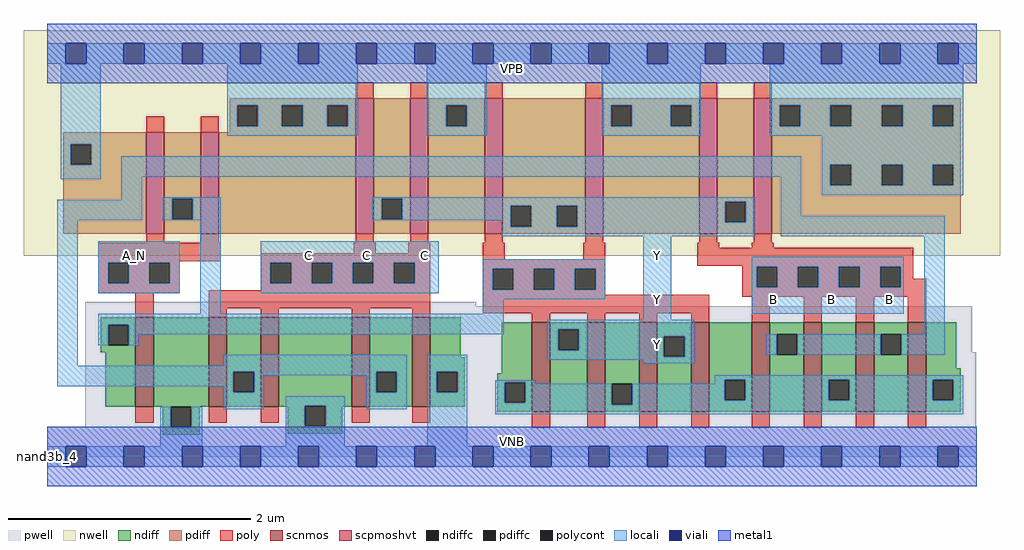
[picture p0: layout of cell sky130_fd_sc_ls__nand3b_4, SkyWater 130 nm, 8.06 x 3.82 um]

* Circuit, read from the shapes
.subckt sky130_fd_sc_ls__nand3b_4 A_N B C VGND VNB VPB VPWR Y
XM1 VGND A_N n1 VNB sky130_fd_pr__nfet_01v8 w=0.74 l=0.15
XM2 n2 C VGND VNB sky130_fd_pr__nfet_01v8 w=0.74 l=0.15 m=4
XM3 Y n1 n3 VNB sky130_fd_pr__nfet_01v8 w=0.74 l=0.15 m=4
XM4 n2 B n3 VNB sky130_fd_pr__nfet_01v8 w=0.74 l=0.15 m=4
XM5 n1 A_N VPWR VPB sky130_fd_pr__pfet_01v8_hvt w=0.84 l=0.15 m=2
XM6 Y C VPWR VPB sky130_fd_pr__pfet_01v8_hvt w=1.12 l=0.15 m=2
XM7 Y n1 VPWR VPB sky130_fd_pr__pfet_01v8_hvt w=1.12 l=0.15 m=2
XM8 Y B VPWR VPB sky130_fd_pr__pfet_01v8_hvt w=1.12 l=0.15 m=2
.ends

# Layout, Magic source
magic
tech sky130A
magscale 1 2
<< nwell >>
rect -38 332 1574 704
<< pwell >>
rect 63 248 709 256
rect 63 172 1528 248
rect 63 49 1535 172
rect 0 0 1536 49
<< scnmos >>
rect 146 82 176 230
rect 267 82 297 230
rect 353 82 383 230
rect 503 82 533 230
rect 603 82 633 230
rect 801 74 831 222
rect 892 74 922 222
rect 978 74 1008 222
rect 1064 74 1094 222
rect 1164 74 1194 222
rect 1250 74 1280 222
rect 1336 74 1366 222
rect 1422 74 1452 222
<< scpmoshvt >>
rect 164 368 194 536
rect 254 368 284 536
rect 510 368 540 592
rect 600 368 630 592
rect 723 368 753 592
rect 889 368 919 592
rect 1077 368 1107 592
rect 1167 368 1197 592
<< ndiff >>
rect 89 218 146 230
rect 89 184 101 218
rect 135 184 146 218
rect 89 172 146 184
rect 96 82 146 172
rect 176 82 267 230
rect 297 140 353 230
rect 297 106 308 140
rect 342 106 353 140
rect 297 82 353 106
rect 383 84 503 230
rect 383 82 426 84
rect 191 48 204 82
rect 238 48 252 82
rect 191 36 252 48
rect 398 50 426 82
rect 460 82 503 84
rect 533 140 603 230
rect 533 106 544 140
rect 578 106 603 140
rect 533 82 603 106
rect 633 164 683 230
rect 633 140 690 164
rect 633 106 644 140
rect 678 106 690 140
rect 751 138 801 222
rect 633 82 690 106
rect 744 123 801 138
rect 744 89 756 123
rect 790 89 801 123
rect 460 50 488 82
rect 744 74 801 89
rect 831 210 892 222
rect 831 176 844 210
rect 878 176 892 210
rect 831 74 892 176
rect 922 120 978 222
rect 922 86 933 120
rect 967 86 978 120
rect 922 74 978 86
rect 1008 199 1064 222
rect 1008 165 1019 199
rect 1053 165 1064 199
rect 1008 74 1064 165
rect 1094 127 1164 222
rect 1094 93 1119 127
rect 1153 93 1164 127
rect 1094 74 1164 93
rect 1194 202 1250 222
rect 1194 168 1205 202
rect 1239 168 1250 202
rect 1194 74 1250 168
rect 1280 127 1336 222
rect 1280 93 1291 127
rect 1325 93 1336 127
rect 1280 74 1336 93
rect 1366 202 1422 222
rect 1366 168 1377 202
rect 1411 168 1422 202
rect 1366 74 1422 168
rect 1452 146 1502 222
rect 1452 127 1509 146
rect 1452 93 1463 127
rect 1497 93 1509 127
rect 1452 74 1509 93
rect 398 38 488 50
<< pdiff >>
rect 302 580 510 592
rect 302 546 314 580
rect 348 546 388 580
rect 422 546 463 580
rect 497 546 510 580
rect 302 536 510 546
rect 27 516 164 536
rect 27 482 39 516
rect 73 482 164 516
rect 27 368 164 482
rect 194 426 254 536
rect 194 392 207 426
rect 241 392 254 426
rect 194 368 254 392
rect 284 368 510 536
rect 540 426 600 592
rect 540 392 553 426
rect 587 392 600 426
rect 540 368 600 392
rect 630 580 723 592
rect 630 546 659 580
rect 693 546 723 580
rect 630 368 723 546
rect 753 414 889 592
rect 753 380 766 414
rect 800 380 842 414
rect 876 380 889 414
rect 753 368 889 380
rect 919 580 1077 592
rect 919 546 932 580
rect 966 546 1030 580
rect 1064 546 1077 580
rect 919 368 1077 546
rect 1107 421 1167 592
rect 1107 387 1120 421
rect 1154 387 1167 421
rect 1107 368 1167 387
rect 1197 580 1509 592
rect 1197 546 1210 580
rect 1244 546 1294 580
rect 1328 546 1379 580
rect 1413 546 1463 580
rect 1497 546 1509 580
rect 1197 482 1509 546
rect 1197 448 1294 482
rect 1328 448 1379 482
rect 1413 448 1463 482
rect 1497 448 1509 482
rect 1197 368 1509 448
<< ndiffc >>
rect 101 184 135 218
rect 308 106 342 140
rect 204 48 238 82
rect 426 50 460 84
rect 544 106 578 140
rect 644 106 678 140
rect 756 89 790 123
rect 844 176 878 210
rect 933 86 967 120
rect 1019 165 1053 199
rect 1119 93 1153 127
rect 1205 168 1239 202
rect 1291 93 1325 127
rect 1377 168 1411 202
rect 1463 93 1497 127
<< pdiffc >>
rect 314 546 348 580
rect 388 546 422 580
rect 463 546 497 580
rect 39 482 73 516
rect 207 392 241 426
rect 553 392 587 426
rect 659 546 693 580
rect 766 380 800 414
rect 842 380 876 414
rect 932 546 966 580
rect 1030 546 1064 580
rect 1120 387 1154 421
rect 1210 546 1244 580
rect 1294 546 1328 580
rect 1379 546 1413 580
rect 1463 546 1497 580
rect 1294 448 1328 482
rect 1379 448 1413 482
rect 1463 448 1497 482
<< poly >>
rect 510 592 540 618
rect 600 592 630 618
rect 723 592 753 618
rect 889 592 919 618
rect 1077 592 1107 618
rect 1167 592 1197 618
rect 164 536 194 562
rect 254 536 284 562
rect 164 353 194 368
rect 254 353 284 368
rect 510 353 540 368
rect 600 353 630 368
rect 723 353 753 368
rect 889 353 919 368
rect 1077 353 1107 368
rect 1167 353 1197 368
rect 85 323 287 353
rect 507 336 543 353
rect 597 336 633 353
rect 85 320 219 323
rect 85 286 101 320
rect 135 286 169 320
rect 203 286 219 320
rect 85 270 219 286
rect 353 320 633 336
rect 353 286 369 320
rect 403 286 437 320
rect 471 286 505 320
rect 539 286 573 320
rect 607 286 633 320
rect 353 275 633 286
rect 146 230 176 270
rect 267 245 633 275
rect 267 230 297 245
rect 353 230 383 245
rect 503 230 533 245
rect 603 230 633 245
rect 720 326 756 353
rect 886 326 922 353
rect 720 310 922 326
rect 1074 345 1110 353
rect 1164 345 1200 353
rect 1074 315 1431 345
rect 720 276 736 310
rect 770 276 804 310
rect 838 276 872 310
rect 906 276 922 310
rect 720 267 922 276
rect 1148 314 1431 315
rect 1148 280 1172 314
rect 1206 280 1240 314
rect 1274 280 1308 314
rect 1342 280 1376 314
rect 1410 294 1431 314
rect 1410 280 1452 294
rect 720 237 1094 267
rect 1148 264 1452 280
rect 146 56 176 82
rect 267 56 297 82
rect 353 56 383 82
rect 801 222 831 237
rect 892 222 922 237
rect 978 222 1008 237
rect 1064 222 1094 237
rect 1164 222 1194 264
rect 1250 222 1280 264
rect 1336 222 1366 264
rect 1422 222 1452 264
rect 503 56 533 82
rect 603 56 633 82
rect 801 48 831 74
rect 892 48 922 74
rect 978 48 1008 74
rect 1064 48 1094 74
rect 1164 48 1194 74
rect 1250 48 1280 74
rect 1336 48 1366 74
rect 1422 48 1452 74
<< polycont >>
rect 101 286 135 320
rect 169 286 203 320
rect 369 286 403 320
rect 437 286 471 320
rect 505 286 539 320
rect 573 286 607 320
rect 736 276 770 310
rect 804 276 838 310
rect 872 276 906 310
rect 1172 280 1206 314
rect 1240 280 1274 314
rect 1308 280 1342 314
rect 1376 280 1410 314
<< locali >>
rect 0 649 31 683
rect 65 649 127 683
rect 161 649 223 683
rect 257 649 319 683
rect 353 649 415 683
rect 449 649 511 683
rect 545 649 607 683
rect 641 649 703 683
rect 737 649 799 683
rect 833 649 895 683
rect 929 649 991 683
rect 1025 649 1087 683
rect 1121 649 1183 683
rect 1217 649 1279 683
rect 1313 649 1375 683
rect 1409 649 1471 683
rect 1505 649 1536 683
rect 23 516 89 649
rect 298 580 513 649
rect 298 546 314 580
rect 348 546 388 580
rect 422 546 463 580
rect 497 546 513 580
rect 298 530 513 546
rect 627 580 726 649
rect 627 546 659 580
rect 693 546 726 580
rect 627 530 726 546
rect 916 580 1080 649
rect 916 546 932 580
rect 966 546 1030 580
rect 1064 546 1080 580
rect 916 530 1080 546
rect 1194 580 1513 649
rect 1194 546 1210 580
rect 1244 546 1294 580
rect 1328 546 1379 580
rect 1413 546 1463 580
rect 1497 546 1513 580
rect 1194 530 1513 546
rect 23 482 39 516
rect 73 482 89 516
rect 23 458 89 482
rect 123 462 1246 496
rect 123 424 157 462
rect 17 390 157 424
rect 191 426 287 428
rect 191 392 207 426
rect 241 392 287 426
rect 191 390 287 392
rect 537 426 1170 428
rect 537 392 553 426
rect 587 421 1170 426
rect 587 414 1120 421
rect 587 392 766 414
rect 537 390 766 392
rect 17 150 51 390
rect 85 320 219 356
rect 85 286 101 320
rect 135 286 169 320
rect 203 286 219 320
rect 85 270 219 286
rect 253 236 287 390
rect 750 380 766 390
rect 800 380 842 414
rect 876 387 1120 414
rect 1154 387 1170 421
rect 876 380 1170 387
rect 750 364 1170 380
rect 1212 398 1246 462
rect 1280 482 1513 530
rect 1280 448 1294 482
rect 1328 448 1379 482
rect 1413 448 1463 482
rect 1497 448 1513 482
rect 1280 432 1513 448
rect 1212 364 1483 398
rect 353 320 647 356
rect 353 286 369 320
rect 403 286 437 320
rect 471 286 505 320
rect 539 286 573 320
rect 607 286 647 320
rect 353 270 647 286
rect 720 310 922 326
rect 720 276 736 310
rect 770 276 804 310
rect 838 276 872 310
rect 906 276 922 310
rect 720 260 922 276
rect 720 236 754 260
rect 85 218 754 236
rect 985 226 1031 364
rect 1164 314 1415 330
rect 1164 280 1172 314
rect 1206 280 1240 314
rect 1274 280 1308 314
rect 1342 280 1376 314
rect 1410 280 1415 314
rect 1164 236 1415 280
rect 85 184 101 218
rect 135 202 754 218
rect 826 210 1069 226
rect 135 184 151 202
rect 826 176 844 210
rect 878 199 1069 210
rect 1449 202 1483 364
rect 878 176 1019 199
rect 292 150 594 168
rect 17 140 594 150
rect 17 116 308 140
rect 292 106 308 116
rect 342 134 544 140
rect 342 106 358 134
rect 187 48 204 82
rect 238 48 256 82
rect 292 78 358 106
rect 528 106 544 134
rect 578 106 594 140
rect 394 84 492 100
rect 187 17 256 48
rect 394 50 426 84
rect 460 50 492 84
rect 528 78 594 106
rect 628 140 694 168
rect 826 165 1019 176
rect 1053 165 1069 199
rect 1189 168 1205 202
rect 1239 168 1377 202
rect 1411 168 1483 202
rect 826 160 1069 165
rect 985 154 1069 160
rect 628 106 644 140
rect 678 106 694 140
rect 1103 127 1513 134
rect 394 17 492 50
rect 628 17 694 106
rect 740 123 806 126
rect 740 89 756 123
rect 790 120 806 123
rect 1103 120 1119 127
rect 790 89 933 120
rect 740 86 933 89
rect 967 93 1119 120
rect 1153 93 1291 127
rect 1325 93 1463 127
rect 1497 93 1513 127
rect 967 86 1513 93
rect 740 70 1513 86
rect 0 -17 31 17
rect 65 -17 127 17
rect 161 -17 223 17
rect 257 -17 319 17
rect 353 -17 415 17
rect 449 -17 511 17
rect 545 -17 607 17
rect 641 -17 703 17
rect 737 -17 799 17
rect 833 -17 895 17
rect 929 -17 991 17
rect 1025 -17 1087 17
rect 1121 -17 1183 17
rect 1217 -17 1279 17
rect 1313 -17 1375 17
rect 1409 -17 1471 17
rect 1505 -17 1536 17
<< viali >>
rect 31 649 65 683
rect 127 649 161 683
rect 223 649 257 683
rect 319 649 353 683
rect 415 649 449 683
rect 511 649 545 683
rect 607 649 641 683
rect 703 649 737 683
rect 799 649 833 683
rect 895 649 929 683
rect 991 649 1025 683
rect 1087 649 1121 683
rect 1183 649 1217 683
rect 1279 649 1313 683
rect 1375 649 1409 683
rect 1471 649 1505 683
rect 31 -17 65 17
rect 127 -17 161 17
rect 223 -17 257 17
rect 319 -17 353 17
rect 415 -17 449 17
rect 511 -17 545 17
rect 607 -17 641 17
rect 703 -17 737 17
rect 799 -17 833 17
rect 895 -17 929 17
rect 991 -17 1025 17
rect 1087 -17 1121 17
rect 1183 -17 1217 17
rect 1279 -17 1313 17
rect 1375 -17 1409 17
rect 1471 -17 1505 17
<< metal1 >>
rect 0 683 1536 715
rect 0 649 31 683
rect 65 649 127 683
rect 161 649 223 683
rect 257 649 319 683
rect 353 649 415 683
rect 449 649 511 683
rect 545 649 607 683
rect 641 649 703 683
rect 737 649 799 683
rect 833 649 895 683
rect 929 649 991 683
rect 1025 649 1087 683
rect 1121 649 1183 683
rect 1217 649 1279 683
rect 1313 649 1375 683
rect 1409 649 1471 683
rect 1505 649 1536 683
rect 0 617 1536 649
rect 0 17 1536 49
rect 0 -17 31 17
rect 65 -17 127 17
rect 161 -17 223 17
rect 257 -17 319 17
rect 353 -17 415 17
rect 449 -17 511 17
rect 545 -17 607 17
rect 641 -17 703 17
rect 737 -17 799 17
rect 833 -17 895 17
rect 929 -17 991 17
rect 1025 -17 1087 17
rect 1121 -17 1183 17
rect 1217 -17 1279 17
rect 1313 -17 1375 17
rect 1409 -17 1471 17
rect 1505 -17 1536 17
rect 0 -49 1536 -17
<< labels >>
rlabel comment s 0 0 0 0 4 nand3b_4
flabel pwell s 0 0 1536 49 0 FreeSans 200 0 0 0 VNB
port 5 nsew ground bidirectional
flabel nwell s 0 617 1536 666 0 FreeSans 200 0 0 0 VPB
port 6 nsew power bidirectional
flabel metal1 s 0 617 1536 666 0 FreeSans 340 0 0 0 VPWR
port 7 nsew power bidirectional abutment
flabel metal1 s 0 0 1536 49 0 FreeSans 340 0 0 0 VGND
port 4 nsew ground bidirectional abutment
flabel locali s 127 316 161 350 0 FreeSans 340 0 0 0 A_N
port 1 nsew signal input
flabel locali s 415 316 449 350 0 FreeSans 340 0 0 0 C
port 3 nsew signal input
flabel locali s 511 316 545 350 0 FreeSans 340 0 0 0 C
port 3 nsew signal input
flabel locali s 607 316 641 350 0 FreeSans 340 0 0 0 C
port 3 nsew signal input
flabel locali s 1183 242 1217 276 0 FreeSans 340 0 0 0 B
port 2 nsew signal input
flabel locali s 1279 242 1313 276 0 FreeSans 340 0 0 0 B
port 2 nsew signal input
flabel locali s 1375 242 1409 276 0 FreeSans 340 0 0 0 B
port 2 nsew signal input
flabel locali s 991 168 1025 202 0 FreeSans 340 0 0 0 Y
port 8 nsew signal output
flabel locali s 991 242 1025 276 0 FreeSans 340 0 0 0 Y
port 8 nsew signal output
flabel locali s 991 316 1025 350 0 FreeSans 340 0 0 0 Y
port 8 nsew signal output
<< properties >>
string LEFsite unit
string LEFclass CORE
string FIXED_BBOX 0 0 1536 666
string GDS_FILE $PDKPATH/libs.ref/sky130_fd_sc_ls/gds/sky130_fd_sc_ls.gds
string LEFsymmetry X Y
string GDS_END 2302160
string GDS_START 2291876
<< end >>
